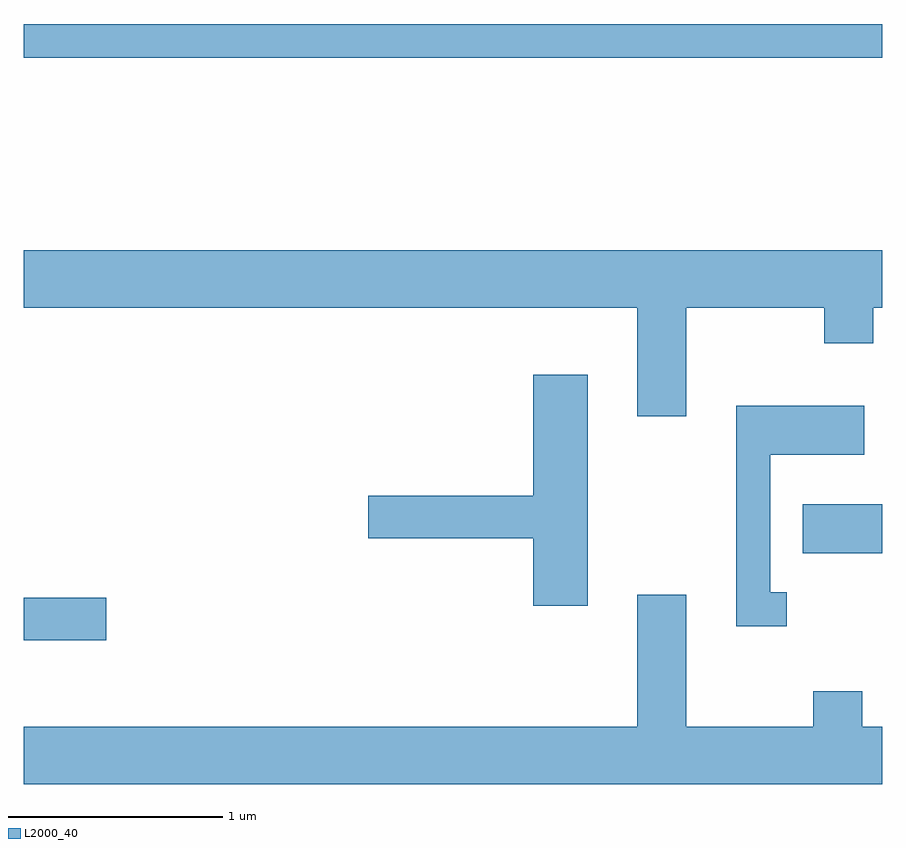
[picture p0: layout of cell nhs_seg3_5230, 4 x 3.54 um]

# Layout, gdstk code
import gdstk
lib = gdstk.Library(unit=1e-6, precision=1e-09)
def R(c, l, rs):  # rectangles x0, y0, x1, y1
    for r in rs: c.add(gdstk.rectangle(r[:2], r[2:], *l))
def P(c, l, *ps):  # polygons
    for p in ps: c.add(gdstk.Polygon(p, *l))
L2000_40 = (2000, 40)

nhs_seg3_5230 = lib.new_cell('nhs_seg3_5230')
R(nhs_seg3_5230, L2000_40, [(337.611,1248.786,337.994,1248.984), (341.241,1249.191,341.611,1249.419), (337.611,1251.501,341.611,1251.659)])
P(nhs_seg3_5230, L2000_40, [(340.699,1250.336),(341.341,1250.336),(341.341,1250.171),(341.569,1250.171),(341.569,1250.336),(341.611,1250.336),(341.611,1250.604),(337.611,1250.604),(337.611,1250.336),(340.471,1250.336),(340.471,1249.831),(340.699,1249.831)],
  [(340.239,1250.024),(339.986,1250.024),(339.986,1249.459),(339.216,1249.459),(339.216,1249.261),(339.986,1249.261),(339.986,1248.946),(340.239,1248.946)],
  [(341.168,1249.009),(341.089,1249.009),(341.089,1249.651),(341.529,1249.651),(341.529,1249.879),(340.931,1249.879),(340.931,1248.851),(341.168,1248.851)],
  [(341.611,1248.384),(341.519,1248.384),(341.519,1248.549),(341.291,1248.549),(341.291,1248.384),(340.699,1248.384),(340.699,1248.999),(340.471,1248.999),(340.471,1248.384),(337.611,1248.384),(337.611,1248.116),(341.611,1248.116)])

lib.write_gds('nhs_seg3_5230.gds')
